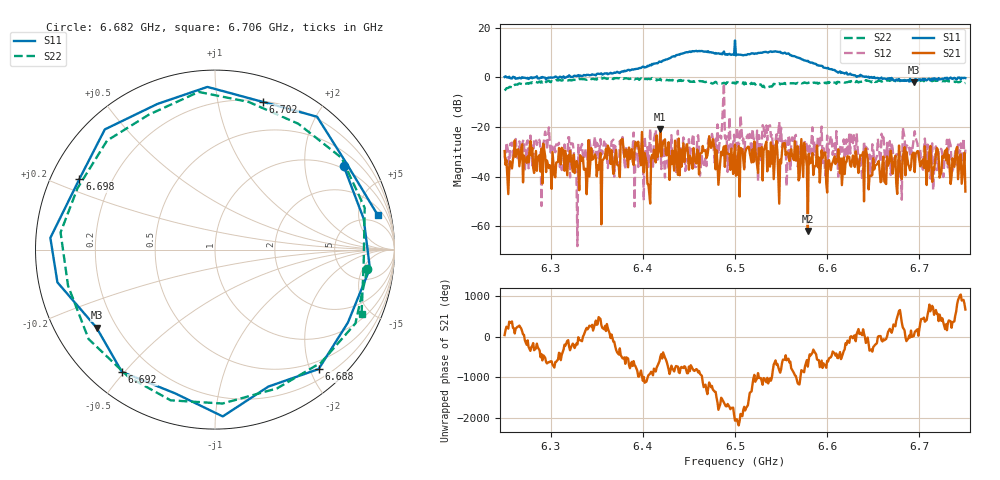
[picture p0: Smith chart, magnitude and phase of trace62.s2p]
# Hz S RI R 50
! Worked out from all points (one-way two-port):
!   401 points, 6.25 GHz to 6.75 GHz, reference 50 ohm
!   highest |S21| = -20.98 dB at 6.419 GHz (marker M1); lowest = -61.8 dB at 6.579 GHz (marker M2)
!   lowest |S11| = -2.0 dB at 6.694 GHz (marker M3), VSWR 8.55, Z = 6.37 - j14.8 ohm
!   |S11| at or under -10 dB: nowhere
!   |S22| runs from -5.3 to -0.1 dB; largest |S21 - S12| = 0.74
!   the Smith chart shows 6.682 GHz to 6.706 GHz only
!   S11 on the Smith chart (normalised r, x): 6.682 GHz: 0.90, +3.12; 6.688 GHz: 0.36, -2.14; 6.692 GHz: 0.10, -0.49; 6.698 GHz: 0.08, +0.24; 6.702 GHz: 0.21, +1.36; 6.706 GHz: 3.09, +8.44
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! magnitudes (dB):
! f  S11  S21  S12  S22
! 6.25 GHz  0.1  -29.7  -31.5  -5.3
! 6.296 GHz  -0.4  -33.5  -29.2  -1.7
! 6.321 GHz  0.4  -29.6  -40.3  -1.1
! 6.329 GHz  0.6  -35.2  -67.9  -0.6
! 6.334 GHz  0.4  -33.7  -26.8  -0.7
! 6.394 GHz  3.4  -27.6  -27.2  -0.6
! 6.406 GHz  4.5  -43.1  -36.1  -0.6
! 6.418 GHz  6.3  -28.6  -25.9  -1.1
! 6.419 GHz  6.3  -21.0  -25.9  -0.6
! 6.486 GHz  9.2  -31.3  -19.0  -2.5
! 6.5 GHz  14.8  -27.1  -28.4  -2.5
! 6.579 GHz  6.6  -61.8  -38.4  -2.3
! 6.584 GHz  5.9  -30.5  -20.1  -2.4
! 6.668 GHz  -0.4  -33.5  -25.7  -1.5
! 6.682 GHz  -1.4  -32.2  -20.2  -1.3
! 6.688 GHz  -1.1  -35.1  -26.8  -1.3
! 6.692 GHz  -1.3  -31.3  -30.4  -1.5
! 6.694 GHz  -2.0  -30.3  -24.7  -1.3
! 6.698 GHz  -1.4  -29.7  -26.7  -1.5
! 6.702 GHz  -1.3  -34.5  -35.1  -1.2
! 6.706 GHz  -0.7  -27.7  -24.7  -1.0
! 6.75 GHz  -0.3  -46.0  -29.1  -2.3
